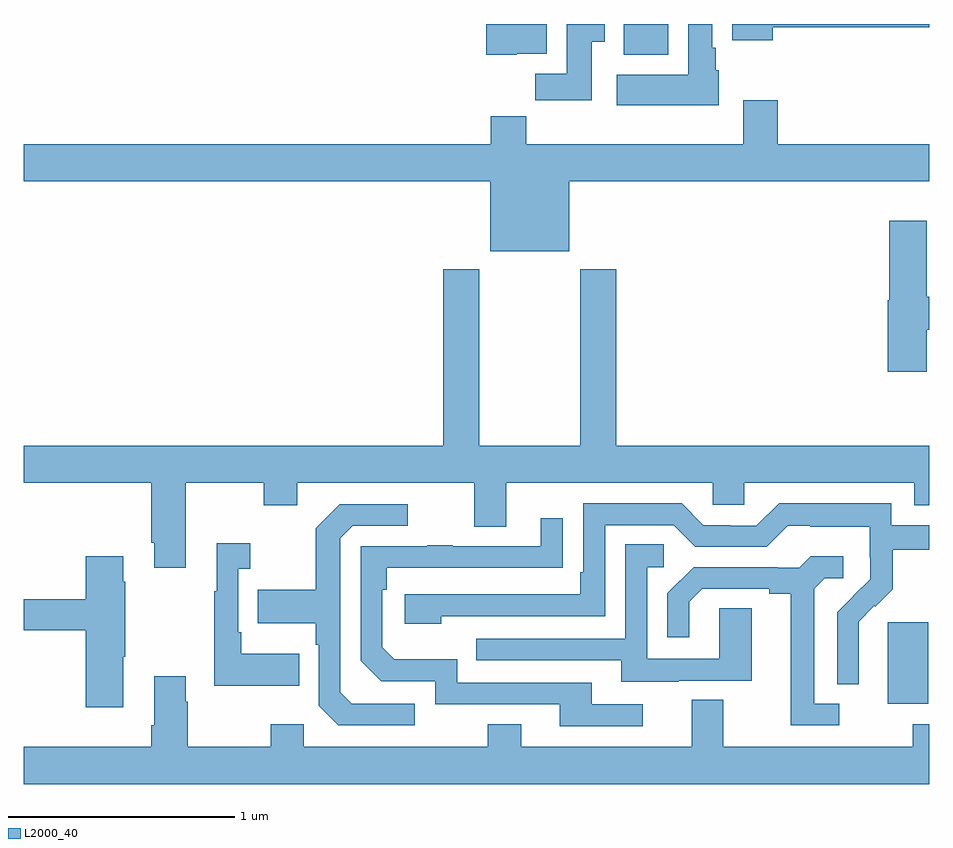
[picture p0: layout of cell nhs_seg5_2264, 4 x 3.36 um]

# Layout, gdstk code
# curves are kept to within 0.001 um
import gdstk
lib = gdstk.Library(unit=1e-6, precision=1e-09)
def R(c, l, rs):  # rectangles x0, y0, x1, y1
    for r in rs: c.add(gdstk.rectangle(r[:2], r[2:], *l))
def P(c, l, *ps):  # polygons
    for p in ps: c.add(gdstk.Polygon(p, *l))
L2000_40 = (2000, 40)

nhs_seg5_2264 = lib.new_cell('nhs_seg5_2264')
R(nhs_seg5_2264, L2000_40, [(246.818,843.794,246.997,844.155), (245.651,846.662,245.848,846.799)])
P(nhs_seg5_2264, L2000_40, [(245.178,846.668),(245.311,846.668),(245.311,846.799),(245.042,846.799),(245.042,846.662),(245.178,846.662)],
  [(246.07,846.594),(246.058,846.594),(246.058,846.694),(246.043,846.694),(246.043,846.799),(245.936,846.799),(245.936,846.574),(245.619,846.574),(245.619,846.44),(246.07,846.44)],
  [(245.509,846.721),(245.566,846.721),(245.566,846.799),(245.399,846.799),(245.399,846.58),(245.26,846.58),(245.26,846.462),(245.509,846.462)],
  [(246.31,846.784),(247,846.784),(247,846.799),(246.131,846.799),(246.131,846.728),(246.31,846.728)],
  [(245.41,846.104),(247,846.104),(247,846.268),(246.332,846.268),(246.332,846.463),(246.179,846.463),(246.179,846.268),(245.219,846.268),(245.219,846.392),(245.063,846.392),(245.063,846.268),(243,846.268),(243,846.104),(245.06,846.104),(245.06,845.795),(245.41,845.795)],
  [(246.991,845.447),(247,845.447),(247,845.594),(246.991,845.594),(246.991,845.929),(246.824,845.929),(246.824,845.577),(246.818,845.577),(246.818,845.262),(246.991,845.262)],
  [(243.715,844.772),(244.06,844.772),(244.06,844.673),(244.207,844.673),(244.207,844.772),(244.991,844.772),(244.991,844.578),(245.131,844.578),(245.131,844.772),(246.045,844.772),(246.045,844.674),(246.183,844.674),(246.183,844.772),(246.935,844.772),(246.935,844.673),(247,844.673),(247,844.936),(245.618,844.936),(245.618,845.716),(245.458,845.716),(245.458,844.936),(245.013,844.936),(245.013,845.716),(244.853,845.716),(244.853,844.936),(243,844.936),(243,844.772),(243.563,844.772),(243.563,844.507),(243.575,844.507),(243.575,844.395),(243.715,844.395)],
  [(246.69,844.034),(246.689,844.157),(246.759,844.227),(246.762,844.224),(246.839,844.301),(246.839,844.476),(247,844.476),(247,844.584),(246.834,844.584),(246.834,844.681),(246.337,844.681),(246.237,844.581),(246.122,844.581),(246.122,844.584),(246.003,844.584),(245.907,844.68),(245.472,844.68),(245.472,844.375),(245.459,844.375),(245.459,844.278),(244.683,844.278),(244.683,844.148),(244.844,844.148),(244.844,844.182),(245.568,844.182),(245.568,844.584),(245.871,844.584),(245.967,844.488),(246.282,844.488),(246.375,844.581),(246.475,844.581),(246.475,844.577),(246.738,844.577),(246.738,844.443),(246.74,844.443),(246.74,844.346),(246.594,844.198),(246.594,843.88),(246.69,843.88)],
  [(244.726,843.795),(244.449,843.795),(244.398,843.846),(244.398,844.527),(244.452,844.581),(244.696,844.581),(244.696,844.677),(244.395,844.677),(244.29,844.571),(244.29,844.299),(244.033,844.299),(244.033,844.151),(244.29,844.151),(244.29,844.055),(244.302,844.055),(244.302,843.786),(244.389,843.699),(244.726,843.699)],
  [(245.734,843.792),(245.509,843.792),(245.509,843.888),(244.914,843.888),(244.914,843.991),(244.637,843.991),(244.584,844.044),(244.584,844.298),(244.604,844.298),(244.604,844.395),(245.381,844.396),(245.381,844.615),(245.285,844.615),(245.285,844.491),(244.895,844.491),(244.895,844.496),(244.783,844.496),(244.783,844.491),(244.488,844.491),(244.488,843.984),(244.578,843.894),(244.818,843.894),(244.818,843.792),(245.369,843.792),(245.369,843.696),(245.734,843.696)],
  [(244.217,844.015),(243.961,844.015),(243.961,844.111),(243.948,844.111),(243.948,844.391),(244,844.391),(244,844.504),(243.851,844.504),(243.851,844.291),(243.84,844.291),(243.84,843.875),(244.217,843.875)],
  [(245.893,843.897),(246.217,843.897),(246.217,844.217),(246.072,844.217),(246.072,843.993),(245.754,843.993),(245.754,844.398),(245.827,844.398),(245.827,844.499),(245.658,844.499),(245.658,844.083),(244.999,844.083),(244.999,843.987),(245.639,843.987),(245.639,843.893),(245.893,843.893)],
  [(243.439,844.003),(243.447,844.003),(243.447,844.334),(243.439,844.334),(243.439,844.447),(243.272,844.447),(243.272,844.256),(243,844.256),(243,844.12),(243.272,844.12),(243.272,843.78),(243.439,843.78)],
  [(246.604,843.795),(246.493,843.795),(246.493,844.303),(246.54,844.35),(246.622,844.35),(246.622,844.447),(246.478,844.447),(246.426,844.395),(246.332,844.395),(246.332,844.398),(245.96,844.398),(245.844,844.282),(245.844,844.089),(245.941,844.089),(245.941,844.245),(245.998,844.302),(246.293,844.302),(246.293,844.28),(246.389,844.28),(246.389,843.699),(246.604,843.699)],
  [(247,843.703),(246.928,843.703),(246.928,843.604),(246.091,843.604),(246.091,843.812),(245.951,843.812),(245.951,843.604),(245.197,843.604),(245.197,843.703),(245.05,843.703),(245.05,843.604),(244.236,843.604),(244.236,843.703),(244.09,843.703),(244.09,843.604),(243.723,843.604),(243.723,843.803),(243.715,843.803),(243.715,843.916),(243.575,843.916),(243.575,843.7),(243.563,843.7),(243.563,843.604),(243,843.604),(243,843.44),(247,843.44)])

lib.write_gds('nhs_seg5_2264.gds')
